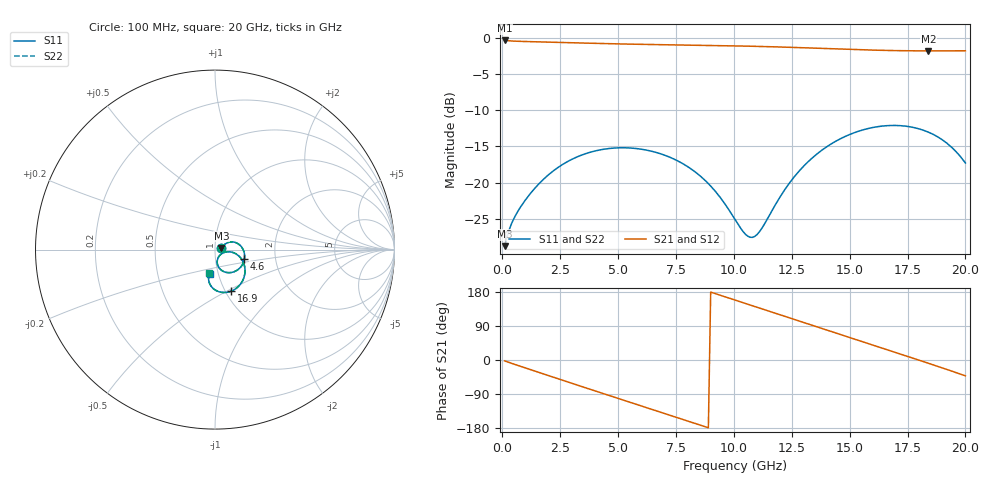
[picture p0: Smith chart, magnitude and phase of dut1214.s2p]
! Touchstone file exported from HFSS 2026.1.0
!  File:  C:/ffzhzh/LocalFiles/Ansys_Project_Files/temp_train_TSV_RDL_1214_1783320255_30076.aedt
!  Generated:  02:55:11 PM Jul  6, 2026
!  Design:  TSV_RDL
!  Project:  temp_train_TSV_RDL_1214_1783320255_30076
! Variables:
!  h_bsmrdl = 3.2um
!  h_ox = 20um
!  h_rdl = 5um
!  h_sub = 85.14um
!  h_tmrdl = 4.22um
!  h_tsv = 85.14um
!  h_via = 3um
!  l_bsmrdl = 745.61um
!  l_sub = 6675.85um
!  l_tmrdl = 981.96um
!  m_sub = 200um
!  pitch = 25.85um
!  r_tsv = 4.68um
!  s_tmrdl = 10um
!  w_bsmrdl = 14.89um
!  w_sub = 500um
!  w_tmrdl = 22.17um
!  x_tsv_center1 = 993.045um
!  x_tsv_center2 = 1753.545um
!  x_tsv_center3 = 2757.675um
!  x_tsv_center4 = 3518.175um
!  x_tsv_center5 = 4522.305um
!  x_tsv_center6 = 5282.805um
# GHz S MA R 50.000000
! Terminal data exported
! Port[1] = TM_RDL1_1_T1
! Port[2] = TM_RDL5_1_T1
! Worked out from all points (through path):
!   200 points, 100 MHz to 20 GHz, reference 50 ohm
!   highest |S21| = -0.31 dB at 100 MHz (marker M1); lowest = -1.8 dB at 18.4 GHz (marker M2)
!   group delay of S21, straight-line fit = 55.5 ps
!   lowest |S11| = -28.8 dB at 100 MHz (marker M3), VSWR 1.08, Z = 53.6 + j0.902 ohm
!   |S11| at or under -10 dB: start of sweep to end of sweep
!   |S22| runs from -28.8 to -12.1 dB; largest |S21 - S12| = 1.6e-14
!   S11 on the Smith chart (normalised r, x): 100 MHz: 1.07, +0.02; 4.6 GHz: 1.38, -0.15; 16.9 GHz: 1.07, -0.53; 20 GHz: 0.91, -0.25
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0.1  0.03621 13.4  0.9651 -2.3  0.9651 -2.3  0.03621 13.4
! Gamma 0 0 0 0
! Port Impedance 50 0 50 0
0.5  0.05625 27.3  0.955 -10.8  0.955 -10.8  0.05625 27.3
1.3  0.08725 28.0  0.9461 -27.1  0.9461 -27.1  0.08725 28.0
2.4  0.1269 16.7  0.9363 -49.3  0.9363 -49.3  0.1269 16.7
3.5  0.1565 0.2  0.926 -71.4  0.926 -71.4  0.1565 0.2
4.6  0.1719 -17.7  0.9166 -93.4  0.9166 -93.4  0.172 -17.7
5.7  0.1726 -35.6  0.9088 -115.2  0.9088 -115.2  0.1726 -35.6
6.8  0.1588 -52.7  0.9023 -137.0  0.9023 -137.0  0.1589 -52.8
7.7  0.1378 -65.6  0.8977 -154.9  0.8977 -154.9  0.1378 -65.7
8.5  0.1126 -75.1  0.8937 -170.9  0.8937 -170.9  0.1126 -75.3
9.3  0.08311 -80.5  0.8895 173.1  0.8895 173.1  0.08299 -80.7
10.1  0.05383 -73.7  0.8847 157.1  0.8847 157.1  0.05357 -74.0
10.6  0.04248 -54.5  0.8812 147.1  0.8812 147.1  0.04209 -54.7
11  0.04356 -32.8  0.8782 139.0  0.8782 139.0  0.04315 -32.6
12.2  0.08923 -8.5  0.8675 114.9  0.8675 114.9  0.08903 -8.3
13.4  0.1486 -17.7  0.8548 90.9  0.8548 90.9  0.1486 -17.5
14.9  0.2118 -38.2  0.838 61.0  0.838 61.0  0.2118 -38.1
16.7  0.2482 -65.5  0.8223 25.4  0.8223 25.4  0.2482 -65.5
16.9  0.2486 -68.6  0.8212 21.5  0.8212 21.5  0.2486 -68.5
18.4  0.2235 -90.4  0.8173 -8.5  0.8173 -8.5  0.2234 -90.4
19.2  0.1873 -99.8  0.8178 -24.9  0.8178 -24.9  0.1872 -99.8
20  0.1366 -102.9  0.8183 -41.8  0.8183 -41.8  0.1363 -103.0
